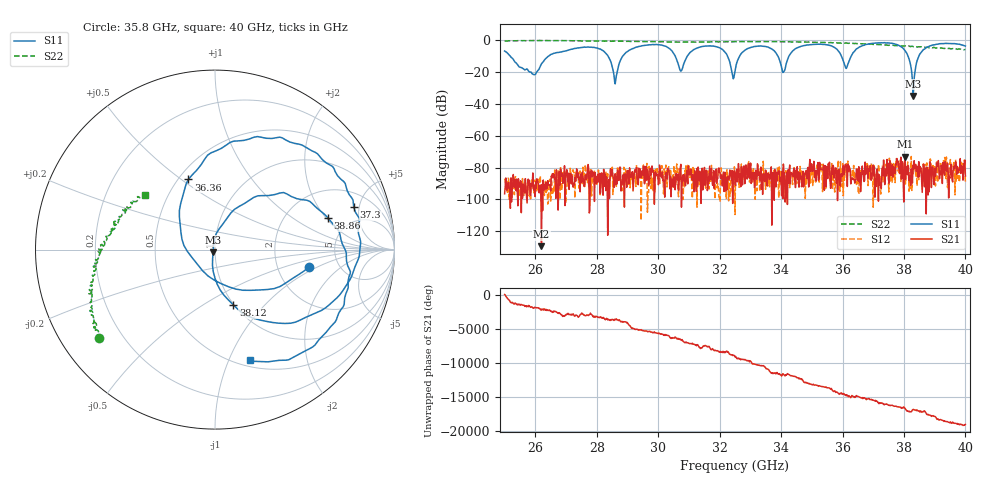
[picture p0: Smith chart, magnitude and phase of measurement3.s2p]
!Keysight Technologies,N5225A,MY55451607,A.10.47.03
!Date: Friday, May 31, 2024 11:04:07
!Correction: S11(Full 2 Port(1,2))
!S21(Full 2 Port(1,2))
!S12(Full 2 Port(1,2))
!S22(Full 2 Port(1,2))
!S2P File: Measurements: S11, S21, S12, S22:
# Hz S  RI  R 50
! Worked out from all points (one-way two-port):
!   801 points, 25 GHz to 40 GHz, reference 50 ohm
!   highest |S21| = -73.19 dB at 38.03 GHz (marker M1); lowest = -129.3 dB at 26.2 GHz (marker M2)
!   lowest |S11| = -35.1 dB at 38.29 GHz (marker M3), VSWR 1.04, Z = 48.9 - j1.37 ohm
!   |S11| at or under -10 dB: 25.18 GHz to 26.44 GHz (1.262 GHz wide, 4.89 % of centre); 28.37 GHz to 28.85 GHz (484.9 MHz wide, 1.7 % of centre); 32.25 GHz to 32.65 GHz (400.4 MHz wide, 1.23 % of centre) (the widest 3 of 7)
!   |S22| runs from -6.2 to -0.3 dB; largest |S21 - S12| = 0.00018
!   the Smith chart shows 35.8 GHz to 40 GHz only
!   S11 on the Smith chart (normalised r, x): 35.8 GHz: 3.02, -0.80; 36.36 GHz: 0.56, +0.53; 37.3 GHz: 3.23, +4.40; 38.12 GHz: 0.99, -0.69; 38.86 GHz: 3.42, +2.10; 40 GHz: 0.56, -1.20
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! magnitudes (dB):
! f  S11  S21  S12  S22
! 25 GHz  -6.9  -96.5  -87.0  -0.6
! 26.2 GHz  -15.0  -129.3  -96.1  -0.4
! 27.51 GHz  -4.7  -87.0  -87.1  -0.6
! 28.24 GHz  -7.3  -87.5  -84.5  -0.7
! 28.6 GHz  -27.5  -83.9  -84.2  -0.7
! 29.01 GHz  -7.1  -85.6  -84.1  -0.8
! 30.01 GHz  -2.9  -90.8  -85.7  -1.2
! 30.74 GHz  -19.5  -78.0  -86.1  -1.3
! 31.94 GHz  -4.5  -87.1  -90.1  -1.2
! 32.5 GHz  -19.6  -89.4  -109.5  -1.1
! 32.97 GHz  -5.0  -86.7  -89.0  -1.0
! 34.08 GHz  -20.2  -77.9  -80.2  -1.1
! 35.01 GHz  -2.8  -82.5  -78.3  -1.4
! 35.8 GHz  -5.5  -89.8  -80.9  -1.8
! 36.36 GHz  -7.6  -87.4  -78.7  -2.2
! 37.3 GHz  -1.8  -80.4  -78.8  -3.1
! 37.51 GHz  -1.9  -89.8  -95.4  -3.3
! 38.03 GHz  -6.6  -73.2  -78.8  -3.7
! 38.12 GHz  -9.8  -78.8  -76.5  -3.9
! 38.29 GHz  -35.1  -78.5  -84.7  -4.1
! 38.86 GHz  -3.7  -76.6  -74.6  -4.8
! 40 GHz  -3.8  -85.3  -89.3  -6.1
